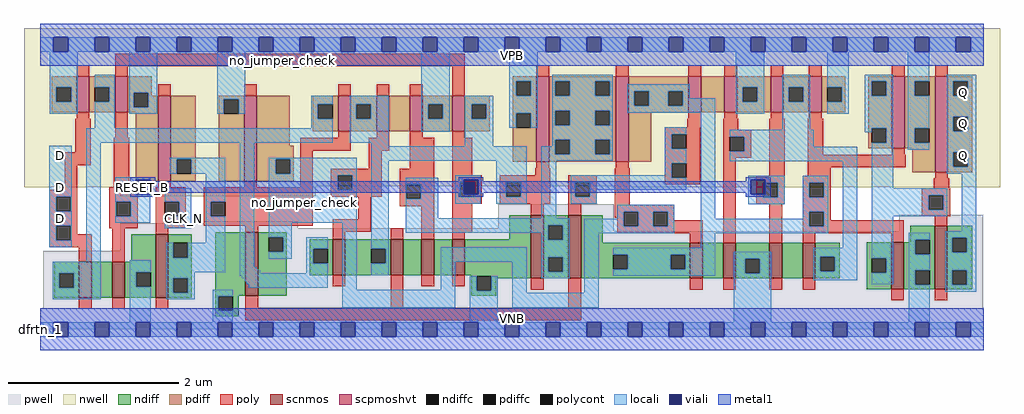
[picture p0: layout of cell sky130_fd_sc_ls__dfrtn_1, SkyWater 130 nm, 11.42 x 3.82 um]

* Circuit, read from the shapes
.subckt sky130_fd_sc_ls__dfrtn_1 CLK_N D RESET_B VGND VNB VPB VPWR Q
XM1 n1 D n2 VNB sky130_fd_pr__nfet_01v8 w=0.42 l=0.15
XM2 VGND RESET_B n1 VNB sky130_fd_pr__nfet_01v8 w=0.42 l=0.15
XM3 n3 CLK_N VGND VNB sky130_fd_pr__nfet_01v8 w=0.74 l=0.15
XM4 n4 n3 VGND VNB sky130_fd_pr__nfet_01v8 w=0.74 l=0.15
XM5 n5 n4 n2 VNB sky130_fd_pr__nfet_01v8 w=0.42 l=0.15
XM6 n6 n3 n5 VNB sky130_fd_pr__nfet_01v8 w=0.42 l=0.15
XM7 n7 n8 n6 VNB sky130_fd_pr__nfet_01v8 w=0.42 l=0.15
XM8 VGND RESET_B n7 VNB sky130_fd_pr__nfet_01v8 w=0.42 l=0.15
XM9 n8 n5 VGND VNB sky130_fd_pr__nfet_01v8 w=0.74 l=0.15
XM10 n9 n3 n8 VNB sky130_fd_pr__nfet_01v8 w=0.74 l=0.15
XM11 n10 n4 n9 VNB sky130_fd_pr__nfet_01v8 w=0.42 l=0.15
XM12 VGND n11 n10 VNB sky130_fd_pr__nfet_01v8 w=0.42 l=0.15
XM13 n12 RESET_B VGND VNB sky130_fd_pr__nfet_01v8 w=0.42 l=0.15
XM14 n11 n9 n12 VNB sky130_fd_pr__nfet_01v8 w=0.42 l=0.15
XM15 VGND n9 n13 VNB sky130_fd_pr__nfet_01v8 w=0.55 l=0.15
XM16 Q n13 VGND VNB sky130_fd_pr__nfet_01v8 w=0.74 l=0.15
XM17 n2 D VPWR VPB sky130_fd_pr__pfet_01v8_hvt w=0.42 l=0.15
XM18 VPWR RESET_B n2 VPB sky130_fd_pr__pfet_01v8_hvt w=0.42 l=0.15
XM19 n3 CLK_N VPWR VPB sky130_fd_pr__pfet_01v8_hvt w=1 l=0.15
XM20 n4 n3 VPWR VPB sky130_fd_pr__pfet_01v8_hvt w=1 l=0.15
XM21 n5 n3 n2 VPB sky130_fd_pr__pfet_01v8_hvt w=0.42 l=0.15
XM22 n14 n4 n5 VPB sky130_fd_pr__pfet_01v8_hvt w=0.42 l=0.15
XM23 VPWR n8 n14 VPB sky130_fd_pr__pfet_01v8_hvt w=0.42 l=0.15
XM24 n5 RESET_B VPWR VPB sky130_fd_pr__pfet_01v8_hvt w=0.42 l=0.15
XM25 n8 n5 VPWR VPB sky130_fd_pr__pfet_01v8_hvt w=1 l=0.15
XM26 n9 n4 n8 VPB sky130_fd_pr__pfet_01v8_hvt w=1 l=0.15
XM27 n15 n3 n9 VPB sky130_fd_pr__pfet_01v8_hvt w=0.42 l=0.15
XM28 VPWR n11 n15 VPB sky130_fd_pr__pfet_01v8_hvt w=0.42 l=0.15
XM29 n11 RESET_B VPWR VPB sky130_fd_pr__pfet_01v8_hvt w=0.42 l=0.15
XM30 VPWR n9 n11 VPB sky130_fd_pr__pfet_01v8_hvt w=0.42 l=0.15
XM31 VPWR n9 n13 VPB sky130_fd_pr__pfet_01v8_hvt w=0.84 l=0.15
XM32 Q n13 VPWR VPB sky130_fd_pr__pfet_01v8_hvt w=1.12 l=0.15
.ends

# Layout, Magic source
magic
tech sky130A
magscale 1 2
<< nwell >>
rect -38 335 2246 704
rect -38 332 645 335
rect 1384 332 2246 335
rect 187 311 645 332
<< pwell >>
rect 383 248 603 253
rect 187 237 603 248
rect 1072 237 1342 293
rect 187 229 1342 237
rect 2010 230 2207 268
rect 1908 229 2207 230
rect 187 184 2207 229
rect 7 49 2207 184
rect 0 0 2208 49
<< scnmos >>
rect 90 74 120 158
rect 168 74 198 158
rect 270 74 300 222
rect 480 79 510 227
rect 684 127 714 211
rect 820 127 850 211
rect 892 127 922 211
rect 964 127 994 211
rect 1148 119 1178 267
rect 1236 119 1266 267
rect 1520 119 1550 203
rect 1598 119 1628 203
rect 1706 119 1736 203
rect 1784 119 1814 203
rect 1991 94 2021 204
rect 2093 94 2123 242
<< scpmoshvt >>
rect 85 508 115 592
rect 175 508 205 592
rect 276 347 306 547
rect 477 347 507 547
rect 697 463 727 547
rect 787 463 817 547
rect 865 463 895 547
rect 964 463 994 547
rect 1161 392 1191 592
rect 1347 392 1377 592
rect 1517 508 1547 592
rect 1601 508 1631 592
rect 1709 508 1739 592
rect 1799 508 1829 592
rect 1993 424 2023 592
rect 2094 368 2124 592
<< ndiff >>
rect 213 158 270 222
rect 33 131 90 158
rect 33 97 45 131
rect 79 97 90 131
rect 33 74 90 97
rect 120 74 168 158
rect 198 133 270 158
rect 198 99 225 133
rect 259 99 270 133
rect 198 74 270 99
rect 300 202 355 222
rect 300 168 311 202
rect 345 168 355 202
rect 300 120 355 168
rect 300 86 311 120
rect 345 86 355 120
rect 300 74 355 86
rect 409 79 480 227
rect 510 215 577 227
rect 510 181 535 215
rect 569 181 577 215
rect 1098 211 1148 267
rect 510 79 577 181
rect 631 188 684 211
rect 631 154 639 188
rect 673 154 684 188
rect 631 127 684 154
rect 714 188 820 211
rect 714 154 775 188
rect 809 154 820 188
rect 714 127 820 154
rect 850 127 892 211
rect 922 127 964 211
rect 994 127 1148 211
rect 409 77 465 79
rect 409 43 417 77
rect 451 43 465 77
rect 409 31 465 43
rect 1009 124 1148 127
rect 1009 90 1021 124
rect 1055 119 1148 124
rect 1178 244 1236 267
rect 1178 210 1189 244
rect 1223 210 1236 244
rect 1178 169 1236 210
rect 1178 135 1189 169
rect 1223 135 1236 169
rect 1178 119 1236 135
rect 1266 203 1316 267
rect 2036 210 2093 242
rect 2036 204 2048 210
rect 1266 175 1520 203
rect 1266 141 1341 175
rect 1375 141 1475 175
rect 1509 141 1520 175
rect 1266 119 1520 141
rect 1550 119 1598 203
rect 1628 165 1706 203
rect 1628 131 1650 165
rect 1684 131 1706 165
rect 1628 119 1706 131
rect 1736 119 1784 203
rect 1814 170 1871 203
rect 1814 136 1825 170
rect 1859 136 1871 170
rect 1814 119 1871 136
rect 1934 166 1991 204
rect 1934 132 1946 166
rect 1980 132 1991 166
rect 1055 90 1067 119
rect 1009 78 1067 90
rect 1934 94 1991 132
rect 2021 176 2048 204
rect 2082 176 2093 210
rect 2021 138 2093 176
rect 2021 104 2048 138
rect 2082 104 2093 138
rect 2021 94 2093 104
rect 2123 214 2181 242
rect 2123 180 2134 214
rect 2168 180 2181 214
rect 2123 138 2181 180
rect 2123 104 2134 138
rect 2168 104 2181 138
rect 2123 94 2181 104
<< pdiff >>
rect 27 567 85 592
rect 27 533 38 567
rect 72 533 85 567
rect 27 508 85 533
rect 115 567 175 592
rect 115 533 128 567
rect 162 533 175 567
rect 115 508 175 533
rect 205 554 261 592
rect 205 520 219 554
rect 253 547 261 554
rect 1106 580 1161 592
rect 253 520 276 547
rect 205 508 276 520
rect 223 347 276 508
rect 306 398 364 547
rect 306 364 319 398
rect 353 364 364 398
rect 306 347 364 364
rect 418 538 477 547
rect 418 504 430 538
rect 464 504 477 538
rect 418 347 477 504
rect 507 429 584 547
rect 638 527 697 547
rect 638 493 650 527
rect 684 493 697 527
rect 638 463 697 493
rect 727 527 787 547
rect 727 493 740 527
rect 774 493 787 527
rect 727 463 787 493
rect 817 463 865 547
rect 895 527 964 547
rect 895 493 908 527
rect 942 493 964 527
rect 895 463 964 493
rect 994 527 1052 547
rect 994 493 1010 527
rect 1044 493 1052 527
rect 994 463 1052 493
rect 1106 546 1114 580
rect 1148 546 1161 580
rect 1106 506 1161 546
rect 1106 472 1114 506
rect 1148 472 1161 506
rect 507 398 593 429
rect 507 364 551 398
rect 585 364 593 398
rect 507 347 593 364
rect 1106 392 1161 472
rect 1191 580 1347 592
rect 1191 546 1205 580
rect 1239 546 1299 580
rect 1333 546 1347 580
rect 1191 512 1347 546
rect 1191 478 1205 512
rect 1239 478 1299 512
rect 1333 478 1347 512
rect 1191 444 1347 478
rect 1191 410 1205 444
rect 1239 410 1299 444
rect 1333 410 1347 444
rect 1191 392 1347 410
rect 1377 557 1517 592
rect 1377 523 1390 557
rect 1424 523 1470 557
rect 1504 523 1517 557
rect 1377 508 1517 523
rect 1547 508 1601 592
rect 1631 567 1709 592
rect 1631 533 1644 567
rect 1678 533 1709 567
rect 1631 508 1709 533
rect 1739 567 1799 592
rect 1739 533 1752 567
rect 1786 533 1799 567
rect 1739 508 1799 533
rect 1829 567 1884 592
rect 1829 533 1842 567
rect 1876 533 1884 567
rect 1829 508 1884 533
rect 1938 580 1993 592
rect 1938 546 1946 580
rect 1980 546 1993 580
rect 1377 392 1430 508
rect 1938 471 1993 546
rect 1938 437 1946 471
rect 1980 437 1993 471
rect 1938 424 1993 437
rect 2023 580 2094 592
rect 2023 546 2046 580
rect 2080 546 2094 580
rect 2023 470 2094 546
rect 2023 436 2046 470
rect 2080 436 2094 470
rect 2023 424 2094 436
rect 2041 368 2094 424
rect 2124 580 2181 592
rect 2124 546 2137 580
rect 2171 546 2181 580
rect 2124 497 2181 546
rect 2124 463 2137 497
rect 2171 463 2181 497
rect 2124 414 2181 463
rect 2124 380 2137 414
rect 2171 380 2181 414
rect 2124 368 2181 380
<< ndiffc >>
rect 45 97 79 131
rect 225 99 259 133
rect 311 168 345 202
rect 311 86 345 120
rect 535 181 569 215
rect 639 154 673 188
rect 775 154 809 188
rect 417 43 451 77
rect 1021 90 1055 124
rect 1189 210 1223 244
rect 1189 135 1223 169
rect 1341 141 1375 175
rect 1475 141 1509 175
rect 1650 131 1684 165
rect 1825 136 1859 170
rect 1946 132 1980 166
rect 2048 176 2082 210
rect 2048 104 2082 138
rect 2134 180 2168 214
rect 2134 104 2168 138
<< pdiffc >>
rect 38 533 72 567
rect 128 533 162 567
rect 219 520 253 554
rect 319 364 353 398
rect 430 504 464 538
rect 650 493 684 527
rect 740 493 774 527
rect 908 493 942 527
rect 1010 493 1044 527
rect 1114 546 1148 580
rect 1114 472 1148 506
rect 551 364 585 398
rect 1205 546 1239 580
rect 1299 546 1333 580
rect 1205 478 1239 512
rect 1299 478 1333 512
rect 1205 410 1239 444
rect 1299 410 1333 444
rect 1390 523 1424 557
rect 1470 523 1504 557
rect 1644 533 1678 567
rect 1752 533 1786 567
rect 1842 533 1876 567
rect 1946 546 1980 580
rect 1946 437 1980 471
rect 2046 546 2080 580
rect 2046 436 2080 470
rect 2137 546 2171 580
rect 2137 463 2171 497
rect 2137 380 2171 414
<< poly >>
rect 85 592 115 618
rect 175 615 994 645
rect 175 592 205 615
rect 276 547 306 573
rect 477 547 507 573
rect 697 547 727 573
rect 787 547 817 573
rect 865 547 895 573
rect 964 547 994 615
rect 1161 592 1191 618
rect 1347 592 1377 618
rect 1517 592 1547 618
rect 1601 592 1631 618
rect 1709 592 1739 618
rect 1799 592 1829 618
rect 1993 592 2023 618
rect 2094 592 2124 618
rect 85 493 115 508
rect 82 414 118 493
rect 175 448 205 508
rect 57 384 118 414
rect 57 326 87 384
rect 172 332 208 448
rect 697 448 727 463
rect 787 448 817 463
rect 608 418 727 448
rect 769 418 817 448
rect 865 448 895 463
rect 964 448 994 463
rect 276 332 306 347
rect 477 332 507 347
rect 608 332 638 418
rect 769 376 799 418
rect 865 376 922 448
rect 21 310 87 326
rect 21 276 37 310
rect 71 276 87 310
rect 21 242 87 276
rect 21 208 37 242
rect 71 222 87 242
rect 162 299 228 332
rect 162 265 178 299
rect 212 265 228 299
rect 162 237 228 265
rect 270 299 341 332
rect 270 265 291 299
rect 325 265 341 299
rect 270 237 341 265
rect 383 299 638 332
rect 680 360 799 376
rect 680 326 696 360
rect 730 326 799 360
rect 680 310 799 326
rect 841 339 922 376
rect 383 265 399 299
rect 433 265 638 299
rect 383 242 638 265
rect 744 258 774 310
rect 841 305 857 339
rect 891 305 922 339
rect 841 288 922 305
rect 71 208 120 222
rect 21 192 120 208
rect 90 158 120 192
rect 168 158 198 237
rect 270 222 300 237
rect 480 227 510 242
rect 684 228 774 258
rect 684 211 714 228
rect 820 211 850 237
rect 892 211 922 288
rect 964 360 1011 448
rect 1517 493 1547 508
rect 1601 493 1631 508
rect 1709 493 1739 508
rect 1799 493 1829 508
rect 1514 473 1547 493
rect 1462 457 1544 473
rect 1462 423 1478 457
rect 1512 423 1544 457
rect 1161 377 1191 392
rect 1347 377 1377 392
rect 1462 389 1544 423
rect 1158 360 1194 377
rect 964 344 1033 360
rect 964 310 983 344
rect 1017 310 1033 344
rect 964 294 1033 310
rect 1075 344 1194 360
rect 1075 310 1091 344
rect 1125 310 1194 344
rect 1075 294 1194 310
rect 1236 344 1302 360
rect 1236 310 1252 344
rect 1286 310 1302 344
rect 1236 294 1302 310
rect 964 226 1011 294
rect 1148 267 1178 294
rect 1236 267 1266 294
rect 1344 291 1380 377
rect 1462 355 1478 389
rect 1512 355 1544 389
rect 1462 339 1544 355
rect 1598 467 1634 493
rect 1598 451 1664 467
rect 1598 417 1614 451
rect 1648 417 1664 451
rect 1598 401 1664 417
rect 1344 275 1484 291
rect 964 211 994 226
rect 684 101 714 127
rect 90 48 120 74
rect 168 48 198 74
rect 270 48 300 74
rect 480 51 510 79
rect 820 51 850 127
rect 892 101 922 127
rect 964 101 994 127
rect 1344 261 1366 275
rect 1350 241 1366 261
rect 1400 241 1434 275
rect 1468 255 1484 275
rect 1468 241 1550 255
rect 1350 225 1550 241
rect 1520 203 1550 225
rect 1598 203 1628 401
rect 1706 359 1742 493
rect 1796 409 1832 493
rect 1993 409 2023 424
rect 1796 379 2026 409
rect 1796 359 1850 379
rect 1676 343 1742 359
rect 1676 309 1692 343
rect 1726 309 1742 343
rect 1676 293 1742 309
rect 1784 343 1850 359
rect 2094 353 2124 368
rect 1784 309 1800 343
rect 1834 309 1850 343
rect 2091 330 2127 353
rect 1706 203 1736 293
rect 1784 275 1850 309
rect 1784 241 1800 275
rect 1834 255 1850 275
rect 2063 314 2129 330
rect 2063 280 2079 314
rect 2113 280 2129 314
rect 2063 264 2129 280
rect 1834 241 2021 255
rect 2093 242 2123 264
rect 1784 225 2021 241
rect 1784 203 1814 225
rect 1991 204 2021 225
rect 1148 93 1178 119
rect 1236 51 1266 119
rect 1520 93 1550 119
rect 1598 93 1628 119
rect 1706 93 1736 119
rect 1784 93 1814 119
rect 1991 68 2021 94
rect 2093 68 2123 94
rect 480 21 1266 51
<< polycont >>
rect 37 276 71 310
rect 37 208 71 242
rect 178 265 212 299
rect 291 265 325 299
rect 696 326 730 360
rect 399 265 433 299
rect 857 305 891 339
rect 1478 423 1512 457
rect 983 310 1017 344
rect 1091 310 1125 344
rect 1252 310 1286 344
rect 1478 355 1512 389
rect 1614 417 1648 451
rect 1366 241 1400 275
rect 1434 241 1468 275
rect 1692 309 1726 343
rect 1800 309 1834 343
rect 1800 241 1834 275
rect 2079 280 2113 314
<< locali >>
rect 0 649 31 683
rect 65 649 127 683
rect 161 649 223 683
rect 257 649 319 683
rect 353 649 415 683
rect 449 649 511 683
rect 545 649 607 683
rect 641 649 703 683
rect 737 649 799 683
rect 833 649 895 683
rect 929 649 991 683
rect 1025 649 1087 683
rect 1121 649 1183 683
rect 1217 649 1279 683
rect 1313 649 1375 683
rect 1409 649 1471 683
rect 1505 649 1567 683
rect 1601 649 1663 683
rect 1697 649 1759 683
rect 1793 649 1855 683
rect 1889 649 1951 683
rect 1985 649 2047 683
rect 2081 649 2143 683
rect 2177 649 2208 683
rect 22 567 88 649
rect 22 533 38 567
rect 72 533 88 567
rect 22 504 88 533
rect 128 567 174 596
rect 162 533 174 567
rect 128 470 174 533
rect 208 554 274 649
rect 208 520 219 554
rect 253 520 274 554
rect 208 504 274 520
rect 414 538 480 649
rect 414 504 430 538
rect 464 504 480 538
rect 634 527 684 547
rect 634 493 650 527
rect 634 470 684 493
rect 108 436 684 470
rect 724 527 815 547
rect 724 493 740 527
rect 774 493 815 527
rect 724 436 815 493
rect 892 527 958 649
rect 1098 580 1164 649
rect 892 493 908 527
rect 942 493 958 527
rect 892 462 958 493
rect 994 527 1060 547
rect 994 493 1010 527
rect 1044 493 1060 527
rect 21 310 74 430
rect 21 276 37 310
rect 71 276 74 310
rect 21 242 74 276
rect 21 208 37 242
rect 71 208 74 242
rect 21 192 74 208
rect 108 158 142 436
rect 303 398 433 402
rect 303 364 319 398
rect 353 364 433 398
rect 176 350 257 356
rect 176 316 223 350
rect 176 299 257 316
rect 176 265 178 299
rect 212 265 257 299
rect 176 249 257 265
rect 291 299 353 330
rect 325 265 353 299
rect 291 236 353 265
rect 387 299 433 364
rect 387 265 399 299
rect 387 202 433 265
rect 295 168 311 202
rect 345 168 433 202
rect 29 131 142 158
rect 29 97 45 131
rect 79 97 142 131
rect 29 70 142 97
rect 209 133 259 162
rect 209 99 225 133
rect 209 17 259 99
rect 295 133 433 168
rect 467 145 501 436
rect 775 428 815 436
rect 994 428 1060 493
rect 1098 546 1114 580
rect 1148 546 1164 580
rect 1098 506 1164 546
rect 1098 472 1114 506
rect 1148 472 1164 506
rect 1198 580 1340 596
rect 1198 546 1205 580
rect 1239 546 1299 580
rect 1333 546 1340 580
rect 1198 512 1340 546
rect 1198 478 1205 512
rect 1239 478 1299 512
rect 1333 478 1340 512
rect 1374 557 1520 573
rect 1374 523 1390 557
rect 1424 523 1470 557
rect 1504 541 1520 557
rect 1628 567 1694 649
rect 1504 523 1580 541
rect 1374 507 1580 523
rect 1198 444 1340 478
rect 1198 428 1205 444
rect 535 398 741 402
rect 535 364 551 398
rect 585 364 741 398
rect 535 360 741 364
rect 535 326 696 360
rect 730 326 741 360
rect 535 249 741 326
rect 535 215 588 249
rect 569 181 588 215
rect 535 165 588 181
rect 623 188 673 215
rect 623 154 639 188
rect 467 141 507 145
rect 467 137 510 141
rect 295 120 361 133
rect 467 131 515 137
rect 623 131 673 154
rect 467 125 673 131
rect 471 121 673 125
rect 295 86 311 120
rect 345 86 361 120
rect 474 119 673 121
rect 479 113 673 119
rect 482 109 673 113
rect 483 105 673 109
rect 488 97 673 105
rect 707 93 741 249
rect 775 394 1139 428
rect 775 188 815 394
rect 855 339 931 355
rect 855 305 857 339
rect 891 305 931 339
rect 855 260 931 305
rect 971 350 1031 360
rect 971 344 991 350
rect 971 310 983 344
rect 1025 316 1031 350
rect 1017 310 1031 316
rect 971 294 1031 310
rect 1067 344 1139 394
rect 1067 310 1091 344
rect 1125 310 1139 344
rect 1067 294 1139 310
rect 1173 410 1205 428
rect 1239 410 1299 444
rect 1333 410 1340 444
rect 1173 394 1340 410
rect 1462 457 1512 473
rect 1462 423 1478 457
rect 1173 260 1207 394
rect 1462 389 1512 423
rect 1462 360 1478 389
rect 1241 355 1478 360
rect 1241 344 1512 355
rect 1241 310 1252 344
rect 1286 326 1512 344
rect 1286 310 1302 326
rect 1241 294 1302 310
rect 1350 275 1484 291
rect 855 244 1239 260
rect 1350 259 1366 275
rect 855 226 1189 244
rect 1173 210 1189 226
rect 1223 210 1239 244
rect 809 154 815 188
rect 775 127 815 154
rect 937 158 1139 192
rect 937 93 971 158
rect 295 70 361 86
rect 404 77 451 93
rect 404 43 417 77
rect 707 51 971 93
rect 1005 90 1021 124
rect 1055 90 1071 124
rect 404 17 451 43
rect 1005 17 1071 90
rect 1105 85 1139 158
rect 1173 169 1239 210
rect 1173 135 1189 169
rect 1223 135 1239 169
rect 1173 119 1239 135
rect 1273 241 1366 259
rect 1400 241 1434 275
rect 1468 241 1484 275
rect 1273 225 1484 241
rect 1546 259 1580 507
rect 1628 533 1644 567
rect 1678 533 1694 567
rect 1628 504 1694 533
rect 1736 567 1802 596
rect 1736 533 1752 567
rect 1786 533 1802 567
rect 1736 467 1802 533
rect 1842 567 1892 649
rect 1876 533 1892 567
rect 1842 504 1892 533
rect 1930 580 1996 596
rect 1930 546 1946 580
rect 1980 546 1996 580
rect 1930 471 1996 546
rect 1614 451 1810 467
rect 1930 461 1946 471
rect 1648 427 1810 451
rect 1980 437 1996 471
rect 1648 417 1912 427
rect 1614 393 1912 417
rect 1657 350 1742 359
rect 1657 316 1663 350
rect 1697 343 1742 350
rect 1657 309 1692 316
rect 1726 309 1742 343
rect 1657 293 1742 309
rect 1784 343 1844 359
rect 1784 309 1800 343
rect 1834 309 1844 343
rect 1784 275 1844 309
rect 1784 259 1800 275
rect 1546 241 1800 259
rect 1834 241 1844 275
rect 1546 225 1844 241
rect 1273 85 1307 225
rect 1546 191 1580 225
rect 1878 191 1912 393
rect 1341 175 1580 191
rect 1375 141 1475 175
rect 1509 141 1580 175
rect 1341 125 1580 141
rect 1623 165 1711 181
rect 1623 131 1650 165
rect 1684 131 1711 165
rect 1105 51 1307 85
rect 1623 17 1711 131
rect 1809 170 1912 191
rect 1809 136 1825 170
rect 1859 136 1912 170
rect 1809 115 1912 136
rect 1946 330 1996 437
rect 2030 580 2080 649
rect 2030 546 2046 580
rect 2030 470 2080 546
rect 2030 436 2046 470
rect 2030 420 2080 436
rect 2121 580 2191 596
rect 2121 546 2137 580
rect 2171 546 2191 580
rect 2121 497 2191 546
rect 2121 463 2137 497
rect 2171 463 2191 497
rect 2121 414 2191 463
rect 2121 380 2137 414
rect 2171 380 2191 414
rect 2121 364 2191 380
rect 1946 314 2123 330
rect 1946 280 2079 314
rect 2113 280 2123 314
rect 1946 264 2123 280
rect 1946 166 1996 264
rect 2157 230 2191 364
rect 1980 132 1996 166
rect 1946 106 1996 132
rect 2032 210 2082 226
rect 2032 176 2048 210
rect 2032 138 2082 176
rect 2032 104 2048 138
rect 2032 17 2082 104
rect 2118 214 2191 230
rect 2118 180 2134 214
rect 2168 180 2191 214
rect 2118 138 2191 180
rect 2118 104 2134 138
rect 2168 104 2191 138
rect 2118 88 2191 104
rect 0 -17 31 17
rect 65 -17 127 17
rect 161 -17 223 17
rect 257 -17 319 17
rect 353 -17 415 17
rect 449 -17 511 17
rect 545 -17 607 17
rect 641 -17 703 17
rect 737 -17 799 17
rect 833 -17 895 17
rect 929 -17 991 17
rect 1025 -17 1087 17
rect 1121 -17 1183 17
rect 1217 -17 1279 17
rect 1313 -17 1375 17
rect 1409 -17 1471 17
rect 1505 -17 1567 17
rect 1601 -17 1663 17
rect 1697 -17 1759 17
rect 1793 -17 1855 17
rect 1889 -17 1951 17
rect 1985 -17 2047 17
rect 2081 -17 2143 17
rect 2177 -17 2208 17
<< viali >>
rect 31 649 65 683
rect 127 649 161 683
rect 223 649 257 683
rect 319 649 353 683
rect 415 649 449 683
rect 511 649 545 683
rect 607 649 641 683
rect 703 649 737 683
rect 799 649 833 683
rect 895 649 929 683
rect 991 649 1025 683
rect 1087 649 1121 683
rect 1183 649 1217 683
rect 1279 649 1313 683
rect 1375 649 1409 683
rect 1471 649 1505 683
rect 1567 649 1601 683
rect 1663 649 1697 683
rect 1759 649 1793 683
rect 1855 649 1889 683
rect 1951 649 1985 683
rect 2047 649 2081 683
rect 2143 649 2177 683
rect 223 316 257 350
rect 991 344 1025 350
rect 991 316 1017 344
rect 1017 316 1025 344
rect 1663 343 1697 350
rect 1663 316 1692 343
rect 1692 316 1697 343
rect 31 -17 65 17
rect 127 -17 161 17
rect 223 -17 257 17
rect 319 -17 353 17
rect 415 -17 449 17
rect 511 -17 545 17
rect 607 -17 641 17
rect 703 -17 737 17
rect 799 -17 833 17
rect 895 -17 929 17
rect 991 -17 1025 17
rect 1087 -17 1121 17
rect 1183 -17 1217 17
rect 1279 -17 1313 17
rect 1375 -17 1409 17
rect 1471 -17 1505 17
rect 1567 -17 1601 17
rect 1663 -17 1697 17
rect 1759 -17 1793 17
rect 1855 -17 1889 17
rect 1951 -17 1985 17
rect 2047 -17 2081 17
rect 2143 -17 2177 17
<< metal1 >>
rect 0 683 2208 715
rect 0 649 31 683
rect 65 649 127 683
rect 161 649 223 683
rect 257 649 319 683
rect 353 649 415 683
rect 449 649 511 683
rect 545 649 607 683
rect 641 649 703 683
rect 737 649 799 683
rect 833 649 895 683
rect 929 649 991 683
rect 1025 649 1087 683
rect 1121 649 1183 683
rect 1217 649 1279 683
rect 1313 649 1375 683
rect 1409 649 1471 683
rect 1505 649 1567 683
rect 1601 649 1663 683
rect 1697 649 1759 683
rect 1793 649 1855 683
rect 1889 649 1951 683
rect 1985 649 2047 683
rect 2081 649 2143 683
rect 2177 649 2208 683
rect 0 617 2208 649
rect 211 350 269 356
rect 211 316 223 350
rect 257 347 269 350
rect 979 350 1037 356
rect 979 347 991 350
rect 257 319 991 347
rect 257 316 269 319
rect 211 310 269 316
rect 979 316 991 319
rect 1025 347 1037 350
rect 1651 350 1709 356
rect 1651 347 1663 350
rect 1025 319 1663 347
rect 1025 316 1037 319
rect 979 310 1037 316
rect 1651 316 1663 319
rect 1697 316 1709 350
rect 1651 310 1709 316
rect 0 17 2208 49
rect 0 -17 31 17
rect 65 -17 127 17
rect 161 -17 223 17
rect 257 -17 319 17
rect 353 -17 415 17
rect 449 -17 511 17
rect 545 -17 607 17
rect 641 -17 703 17
rect 737 -17 799 17
rect 833 -17 895 17
rect 929 -17 991 17
rect 1025 -17 1087 17
rect 1121 -17 1183 17
rect 1217 -17 1279 17
rect 1313 -17 1375 17
rect 1409 -17 1471 17
rect 1505 -17 1567 17
rect 1601 -17 1663 17
rect 1697 -17 1759 17
rect 1793 -17 1855 17
rect 1889 -17 1951 17
rect 1985 -17 2047 17
rect 2081 -17 2143 17
rect 2177 -17 2208 17
rect 0 -49 2208 -17
<< labels >>
flabel comment s 566 630 566 630 0 FreeSans 300 0 0 0 no_jumper_check
rlabel comment s 0 0 0 0 4 dfrtn_1
flabel comment s 619 296 619 296 0 FreeSans 200 0 0 0 no_jumper_check
flabel pwell s 0 0 2208 49 0 FreeSans 200 0 0 0 VNB
port 5 nsew ground bidirectional
flabel nwell s 0 617 2208 666 0 FreeSans 200 0 0 0 VPB
port 6 nsew power bidirectional
flabel metal1 s 223 316 257 350 0 FreeSans 340 0 0 0 RESET_B
port 3 nsew signal input
flabel metal1 s 0 617 2208 666 0 FreeSans 340 0 0 0 VPWR
port 7 nsew power bidirectional abutment
flabel metal1 s 0 0 2208 49 0 FreeSans 340 0 0 0 VGND
port 4 nsew ground bidirectional abutment
flabel locali s 319 242 353 276 0 FreeSans 340 0 0 0 CLK_N
port 1 nsew clock input
flabel locali s 2143 390 2177 424 0 FreeSans 340 0 0 0 Q
port 8 nsew signal output
flabel locali s 2143 464 2177 498 0 FreeSans 340 0 0 0 Q
port 8 nsew signal output
flabel locali s 2143 538 2177 572 0 FreeSans 340 0 0 0 Q
port 8 nsew signal output
flabel locali s 31 242 65 276 0 FreeSans 340 0 0 0 D
port 2 nsew signal input
flabel locali s 31 316 65 350 0 FreeSans 340 0 0 0 D
port 2 nsew signal input
flabel locali s 31 390 65 424 0 FreeSans 340 0 0 0 D
port 2 nsew signal input
<< properties >>
string LEFsite unit
string LEFclass CORE
string FIXED_BBOX 0 0 2208 666
string GDS_FILE $PDKPATH/libs.ref/sky130_fd_sc_ls/gds/sky130_fd_sc_ls.gds
string LEFsymmetry X Y R90
string GDS_END 3440162
string GDS_START 3423474
<< end >>
